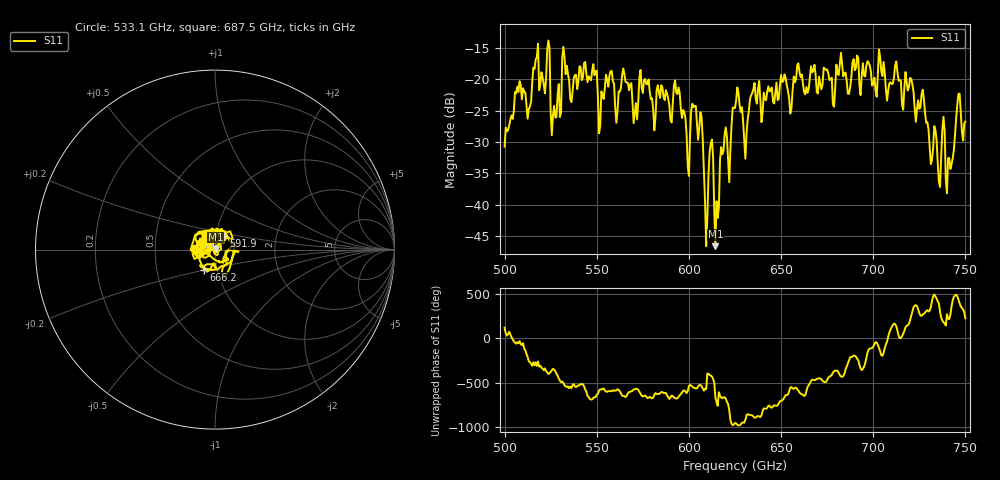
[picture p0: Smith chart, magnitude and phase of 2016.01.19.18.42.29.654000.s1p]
!Created with skrf (http://scikit-rf.org).
# GHz S RI R 50.0
!freq ReS11 ImS11
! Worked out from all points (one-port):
!   401 points, 500 GHz to 750 GHz, reference 50 ohm
!   lowest |S11| = -46.6 dB at 614.4 GHz (marker M1), VSWR 1.01, Z = 50.3 + j0.372 ohm
!   |S11| at or under -10 dB: start of sweep to end of sweep
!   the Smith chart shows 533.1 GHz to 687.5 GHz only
!   S11 on the Smith chart (normalised r, x): 533.1 GHz: 0.80, +0.00; 591.9 GHz: 1.09, +0.16; 666.2 GHz: 0.86, -0.20; 687.5 GHz: 0.86, +0.08
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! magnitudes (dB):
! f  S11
! 500 GHz  -30.7
! 506.9 GHz  -21.1
! 513.1 GHz  -24.7
! 516.9 GHz  -16.8
! 523.1 GHz  -15.3
! 526.9 GHz  -24.2
! 531.2 GHz  -16.6
! 533.1 GHz  -19.2
! 562.5 GHz  -21.9
! 591.9 GHz  -21.0
! 593.8 GHz  -22.3
! 599.4 GHz  -33.9
! 602.5 GHz  -24.4
! 606.2 GHz  -25.2
! 609.4 GHz  -46.6
! 611.9 GHz  -30.2
! 614.4 GHz  -46.6
! 625 GHz  -24.6
! 630.6 GHz  -32.7
! 634.4 GHz  -22.2
! 656.2 GHz  -21.7
! 666.2 GHz  -17.9
! 687.5 GHz  -21.3
! 718.8 GHz  -21.8
! 735.6 GHz  -36.3
! 741.2 GHz  -32.6
! 746.2 GHz  -22.3
! 750 GHz  -26.7
